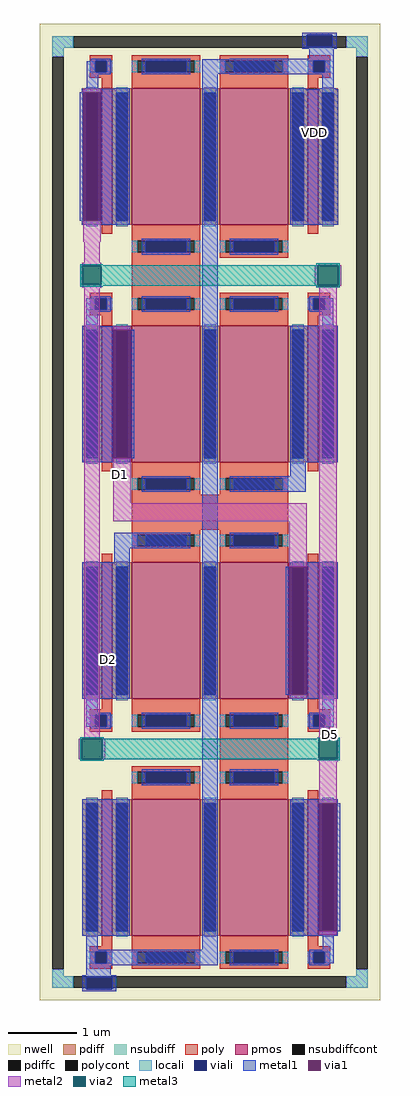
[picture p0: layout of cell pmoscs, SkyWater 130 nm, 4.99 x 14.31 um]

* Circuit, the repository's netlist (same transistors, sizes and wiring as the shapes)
** sch_path: /home/jay_mosfet/opamp1stage/magic/pmoscs.sch
.subckt pmoscs VDD D1 D2 D5
*.PININFO VDD:B D1:B D2:B D5:B
XM1 D1 D2 VDD VDD sky130_fd_pr__pfet_01v8 L=1 W=2 nf=1 m=2
XM2 D2 D2 VDD VDD sky130_fd_pr__pfet_01v8 L=1 W=2 nf=1 m=2
XM5 D5 D2 VDD VDD sky130_fd_pr__pfet_01v8 L=1 W=2 nf=1 m=2
XM3 VDD VDD VDD VDD sky130_fd_pr__pfet_01v8 L=1 W=2 nf=1 m=2
XM4 VDD VDD VDD VDD sky130_fd_pr__pfet_01v8 L=0.15 W=2 nf=1 m=2
XM6 D5 D5 D5 VDD sky130_fd_pr__pfet_01v8 L=0.15 W=2 nf=1 m=2
XM7 D1 D1 D1 VDD sky130_fd_pr__pfet_01v8 L=0.15 W=2 nf=1 m=2
XM8 D2 D2 D2 VDD sky130_fd_pr__pfet_01v8 L=0.15 W=2 nf=1 m=2
.ends
.end

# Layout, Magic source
magic
tech sky130A
magscale 1 2
<< nwell >>
rect 374 -69 1372 2793
<< nsubdiff >>
rect 410 2723 472 2757
rect 1273 2723 1336 2757
rect 410 2697 444 2723
rect 1302 2697 1336 2723
rect 410 1 444 21
rect 1302 1 1336 21
rect 410 -33 472 1
rect 1273 -33 1336 1
<< nsubdiffcont >>
rect 472 2723 1273 2757
rect 410 21 444 2697
rect 1302 21 1336 2697
rect 472 -33 1273 1
<< poly >>
rect 520 2685 586 2701
rect 520 2651 536 2685
rect 570 2651 586 2685
rect 520 2635 586 2651
rect 556 2620 586 2635
rect 1160 2685 1226 2701
rect 1160 2651 1176 2685
rect 1210 2651 1226 2685
rect 1160 2635 1226 2651
rect 1160 2620 1190 2635
rect 520 1989 586 2005
rect 644 2003 844 2109
rect 520 1955 536 1989
rect 570 1955 586 1989
rect 520 1939 586 1955
rect 556 1924 586 1939
rect 1160 1989 1226 2005
rect 1160 1955 1176 1989
rect 1210 1955 1226 1989
rect 1160 1939 1226 1955
rect 1160 1924 1190 1939
rect 644 1310 1102 1412
rect 556 783 586 798
rect 520 767 586 783
rect 520 733 536 767
rect 570 733 586 767
rect 520 717 586 733
rect 1160 783 1190 798
rect 1160 767 1226 783
rect 1160 733 1176 767
rect 1210 733 1226 767
rect 902 614 1102 720
rect 1160 717 1226 733
rect 556 89 586 104
rect 520 73 586 89
rect 520 39 536 73
rect 570 39 586 73
rect 520 23 586 39
rect 1160 89 1190 104
rect 1160 73 1226 89
rect 1160 39 1176 73
rect 1210 39 1226 73
rect 1160 23 1226 39
<< polycont >>
rect 536 2651 570 2685
rect 1176 2651 1210 2685
rect 536 1955 570 1989
rect 1176 1955 1210 1989
rect 536 733 570 767
rect 1176 733 1210 767
rect 536 39 570 73
rect 1176 39 1210 73
<< locali >>
rect 410 2723 472 2757
rect 1273 2723 1336 2757
rect 410 2697 444 2723
rect 1302 2697 1336 2723
rect 520 2651 536 2685
rect 570 2651 586 2685
rect 1160 2651 1176 2685
rect 1210 2651 1226 2685
rect 520 1955 536 1989
rect 570 1955 586 1989
rect 1160 1955 1176 1989
rect 1210 1955 1226 1989
rect 520 733 536 767
rect 570 733 586 767
rect 1160 733 1176 767
rect 1210 733 1226 767
rect 520 39 536 73
rect 570 39 586 73
rect 1160 39 1176 73
rect 1210 39 1226 73
rect 410 1 444 21
rect 1302 1 1336 21
rect 410 -33 472 1
rect 1273 -33 1336 1
<< viali >>
rect 1156 2757 1232 2762
rect 1156 2726 1232 2757
rect 536 2651 570 2685
rect 1176 2651 1210 2685
rect 536 1955 570 1989
rect 1176 1955 1210 1989
rect 536 733 570 767
rect 1176 733 1210 767
rect 536 39 570 73
rect 1176 39 1210 73
rect 510 -33 586 -2
rect 510 -38 586 -33
<< metal1 >>
rect 1144 2762 1244 2768
rect 1144 2726 1156 2762
rect 1232 2726 1244 2762
rect 1144 2720 1244 2726
rect 1164 2691 1236 2720
rect 524 2685 582 2691
rect 1061 2690 1236 2691
rect 524 2684 536 2685
rect 511 2651 536 2684
rect 570 2651 582 2685
rect 511 2645 582 2651
rect 850 2685 1236 2690
rect 850 2651 1176 2685
rect 1210 2651 1236 2685
rect 850 2647 1236 2651
rect 511 2603 545 2645
rect 497 2593 637 2603
rect 491 2216 501 2593
rect 553 2216 637 2593
rect 497 2204 637 2216
rect 524 1989 582 1995
rect 510 1955 536 1989
rect 570 1955 582 1989
rect 510 1949 582 1955
rect 510 1907 544 1949
rect 498 1896 638 1907
rect 498 1520 589 1896
rect 641 1520 651 1896
rect 498 1508 638 1520
rect 592 1255 815 1301
rect 592 1214 638 1255
rect 498 814 638 1214
rect 510 773 544 814
rect 510 767 582 773
rect 510 733 536 767
rect 570 733 582 767
rect 524 727 582 733
rect 498 120 638 520
rect 510 79 544 120
rect 850 79 896 2647
rect 1061 2645 1236 2647
rect 1202 2602 1236 2645
rect 1110 2204 1249 2602
rect 1164 1989 1222 1995
rect 1164 1955 1176 1989
rect 1210 1955 1235 1989
rect 1164 1949 1235 1955
rect 1202 1908 1235 1949
rect 1108 1508 1248 1908
rect 1108 1467 1154 1508
rect 931 1421 1154 1467
rect 1108 1202 1248 1214
rect 1095 826 1105 1202
rect 1157 826 1248 1202
rect 1108 814 1248 826
rect 1202 773 1236 814
rect 1164 767 1236 773
rect 1164 733 1176 767
rect 1210 733 1236 767
rect 1164 727 1222 733
rect 1108 508 1248 520
rect 1108 132 1193 508
rect 1245 132 1255 508
rect 1108 120 1248 132
rect 1203 79 1236 120
rect 510 73 896 79
rect 510 39 536 73
rect 570 39 896 73
rect 510 33 896 39
rect 1164 73 1236 79
rect 1164 39 1176 73
rect 1210 39 1236 73
rect 1164 33 1222 39
rect 510 4 582 33
rect 498 -2 598 4
rect 498 -38 510 -2
rect 586 -38 598 -2
rect 498 -44 598 -38
<< via1 >>
rect 501 2216 553 2593
rect 589 1520 641 1896
rect 1105 826 1157 1202
rect 1193 132 1245 508
<< metal2 >>
rect 501 2593 553 2603
rect 501 2206 553 2216
rect 501 2154 552 2206
rect 504 2093 549 2154
rect 498 2084 554 2093
rect 498 2019 554 2028
rect 1180 2026 1189 2086
rect 1249 2026 1258 2086
rect 504 697 549 2019
rect 589 1896 641 1906
rect 589 1387 641 1520
rect 1105 1387 1157 1388
rect 589 1335 1157 1387
rect 1105 1202 1157 1335
rect 1105 816 1157 826
rect 1193 704 1245 2026
rect 488 637 497 697
rect 557 637 566 697
rect 1192 695 1248 704
rect 1192 630 1248 639
rect 1193 508 1245 630
rect 1193 122 1245 132
<< via2 >>
rect 498 2028 554 2084
rect 1189 2026 1249 2086
rect 497 637 557 697
rect 1192 639 1248 695
<< metal3 >>
rect 493 2086 559 2089
rect 1184 2086 1254 2091
rect 493 2084 1189 2086
rect 493 2028 498 2084
rect 554 2028 1189 2084
rect 493 2026 1189 2028
rect 1249 2026 1254 2086
rect 493 2023 559 2026
rect 1184 2021 1254 2026
rect 492 697 562 702
rect 1187 697 1253 700
rect 492 637 497 697
rect 557 695 1253 697
rect 557 639 1192 695
rect 1248 639 1253 695
rect 557 637 1253 639
rect 492 632 562 637
rect 1187 634 1253 637
use sky130_fd_pr__pfet_01v8_2ZH9AN  sky130_fd_pr__pfet_01v8_2ZH9AN_0
transform 1 0 571 0 1 1014
box -109 -262 109 262
use sky130_fd_pr__pfet_01v8_2ZH9AN  sky130_fd_pr__pfet_01v8_2ZH9AN_1
transform 1 0 1175 0 1 2404
box -109 -262 109 262
use sky130_fd_pr__pfet_01v8_2ZH9AN  sky130_fd_pr__pfet_01v8_2ZH9AN_2
transform 1 0 1175 0 1 1708
box -109 -262 109 262
use sky130_fd_pr__pfet_01v8_2ZH9AN  sky130_fd_pr__pfet_01v8_2ZH9AN_3
transform 1 0 1175 0 1 1014
box -109 -262 109 262
use sky130_fd_pr__pfet_01v8_2ZH9AN  sky130_fd_pr__pfet_01v8_2ZH9AN_4
transform 1 0 1175 0 1 320
box -109 -262 109 262
use sky130_fd_pr__pfet_01v8_2ZH9AN  sky130_fd_pr__pfet_01v8_2ZH9AN_5
transform 1 0 571 0 1 320
box -109 -262 109 262
use sky130_fd_pr__pfet_01v8_2ZH9AN  sky130_fd_pr__pfet_01v8_2ZH9AN_6
transform 1 0 571 0 1 1708
box -109 -262 109 262
use sky130_fd_pr__pfet_01v8_2ZH9AN  sky130_fd_pr__pfet_01v8_2ZH9AN_7
transform 1 0 571 0 1 2404
box -109 -262 109 262
use sky130_fd_pr__pfet_01v8_SDE6B7  sky130_fd_pr__pfet_01v8_SDE6B7_0
transform 1 0 873 0 1 2404
box -323 -300 323 300
use sky130_fd_pr__pfet_01v8_SDE6B7  sky130_fd_pr__pfet_01v8_SDE6B7_1
transform 1 0 873 0 1 1708
box -323 -300 323 300
use sky130_fd_pr__pfet_01v8_SDE6B7  sky130_fd_pr__pfet_01v8_SDE6B7_2
transform 1 0 873 0 1 1014
box -323 -300 323 300
use sky130_fd_pr__pfet_01v8_SDE6B7  sky130_fd_pr__pfet_01v8_SDE6B7_3
transform 1 0 873 0 1 320
box -323 -300 323 300
<< labels >>
flabel metal1 1178 2474 1178 2474 0 FreeSans 240 0 0 0 VDD
port 2 nsew
flabel metal1 574 930 574 930 0 FreeSans 240 0 0 0 D2
port 4 nsew
flabel metal2 1226 710 1226 710 0 FreeSans 240 0 0 0 D5
port 7 nsew
flabel metal2 612 1472 612 1472 0 FreeSans 240 0 0 0 D1
port 8 nsew
<< end >>

# cell sky130_fd_pr__pfet_01v8_2ZH9AN: kit device sky130_fd_pr__pfet_01v8, w 2 l 0.15 m 1 nf 1 diffcov 100 polycov 100 guard 0 glc 1 grc 1 gtc 1 gbc 1 tbcov 100 rlcov 100 topc 0 botc 0 poverlap 0 doverlap 1 lmin 0.15 wmin 0.42 compatible {sky130_fd_pr__pfet_01v8 sky130_fd_pr__pfet_01v8_lvt sky130_fd_pr__pfet_01v8_hvt sky130_fd_pr__pfet_g5v0d10v5} full_metal 1 viasrc 100 viadrn 100 viagate 100 viagb 0 viagr 0 viagl 0 viagt 0

# cell sky130_fd_pr__pfet_01v8_SDE6B7: kit device sky130_fd_pr__pfet_01v8, w 2 l 1 m 1 nf 2 diffcov 100 polycov 100 guard 0 glc 1 grc 1 gtc 1 gbc 1 tbcov 100 rlcov 100 topc 1 botc 1 poverlap 0 doverlap 1 lmin 0.15 wmin 0.42 compatible {sky130_fd_pr__pfet_01v8 sky130_fd_pr__pfet_01v8_lvt sky130_fd_pr__pfet_01v8_hvt sky130_fd_pr__pfet_g5v0d10v5} full_metal 1 viasrc 100 viadrn 100 viagate 70 viagb 0 viagr 0 viagl 0 viagt 0
